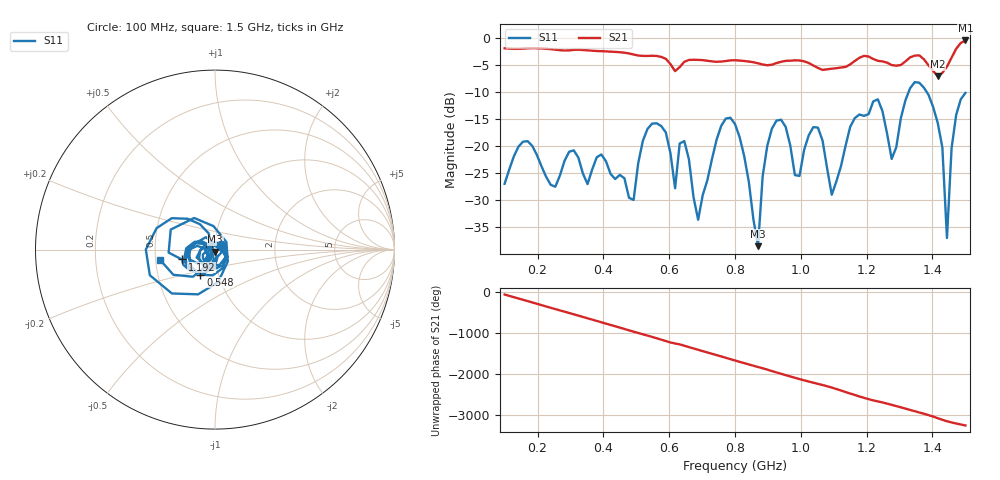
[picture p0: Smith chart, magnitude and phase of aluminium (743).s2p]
! NanoVNA-App
! Date: 2025-09-25 15:01:04
! Start: 100MHz Stop: 1,5GHz Points: 101
! S-Parameter data: F S11 S21 S12 S22
# Hz S RI R 50
!  Frequency  S11_Real  S11_Imag  S21_Real  S21_Imag  S12_Real  S12_Imag  S22_Real  S22_Imag
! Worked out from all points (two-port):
!   101 points, 100 MHz to 1.5 GHz, reference 50 ohm
!   highest |S21| = -0.47 dB at 1.5 GHz (marker M1); lowest = -7.1 dB at 1.416 GHz (marker M2)
!   |S21| within 3 dB of the highest: start of sweep to 572.9 MHz; 1.46 GHz to end of sweep (the widest 2 of 4)
!   lowest |S11| = -38.5 dB at 870 MHz (marker M3), VSWR 1.02, Z = 50.1 - j1.19 ohm
!   |S11| at or under -10 dB: start of sweep to 1.328 GHz; 1.382 GHz to end of sweep
!   S12 and S22 are empty: the file has one direction only
!   S11 on the Smith chart (normalised r, x): 100 MHz: 1.07, +0.06; 548 MHz: 0.82, -0.24; 1.192 GHz: 0.69, -0.08; 1.5 GHz: 0.53, -0.07
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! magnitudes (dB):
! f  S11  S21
! 100 MHz  -27.0  -1.9
! 156 MHz  -19.2  -2.0
! 338 MHz  -25.1  -2.2
! 492 MHz  -29.9  -3.1
! 548 MHz  -15.8  -3.3
! 576 MHz  -16.3  -3.5
! 618 MHz  -27.8  -6.1
! 646 MHz  -19.1  -4.4
! 688 MHz  -33.6  -4.1
! 800 MHz  -15.9  -4.1
! 870 MHz  -38.5  -4.7
! 912 MHz  -16.8  -5.0
! 996 MHz  -25.5  -4.2
! 1.038 GHz  -16.5  -5.1
! 1.094 GHz  -29.0  -5.7
! 1.192 GHz  -14.4  -3.3
! 1.276 GHz  -22.4  -5.0
! 1.346 GHz  -8.2  -3.3
! 1.416 GHz  -15.7  -7.1
! 1.444 GHz  -37.0  -5.3
! 1.458 GHz  -20.4  -3.7
! 1.5 GHz  -10.2  -0.5
